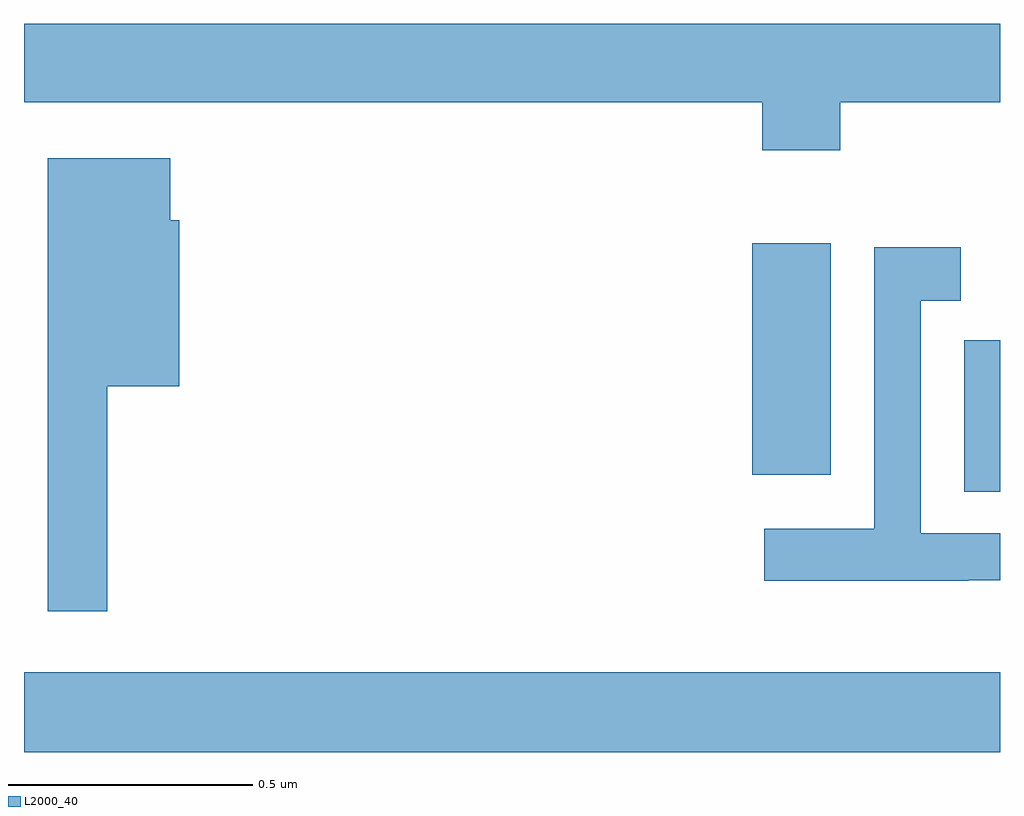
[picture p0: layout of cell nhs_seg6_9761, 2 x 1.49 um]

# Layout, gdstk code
import gdstk
lib = gdstk.Library(unit=1e-6, precision=1e-09)
def R(c, l, rs):  # rectangles x0, y0, x1, y1
    for r in rs: c.add(gdstk.rectangle(r[:2], r[2:], *l))
def P(c, l, *ps):  # polygons
    for p in ps: c.add(gdstk.Polygon(p, *l))
L2000_40 = (2000, 40)

nhs_seg6_9761 = lib.new_cell('nhs_seg6_9761')
R(nhs_seg6_9761, L2000_40, [(238,942.008,240,942.172), (239.927,942.541,240,942.852), (239.492,942.576,239.653,943.051)])
P(nhs_seg6_9761, L2000_40, [(239.673,943.34),(240,943.34),(240,943.5),(238,943.5),(238,943.34),(239.513,943.34),(239.513,943.241),(239.673,943.241)],
  [(238.171,942.758),(238.318,942.758),(238.318,943.098),(238.3,943.098),(238.3,943.225),(238.049,943.225),(238.049,942.297),(238.171,942.297)],
  [(239.935,942.36),(240,942.36),(240,942.456),(239.838,942.456),(239.838,942.933),(239.92,942.933),(239.92,943.042),(239.742,943.042),(239.742,942.466),(239.517,942.466),(239.517,942.359),(239.935,942.359)])

lib.write_gds('nhs_seg6_9761.gds')
